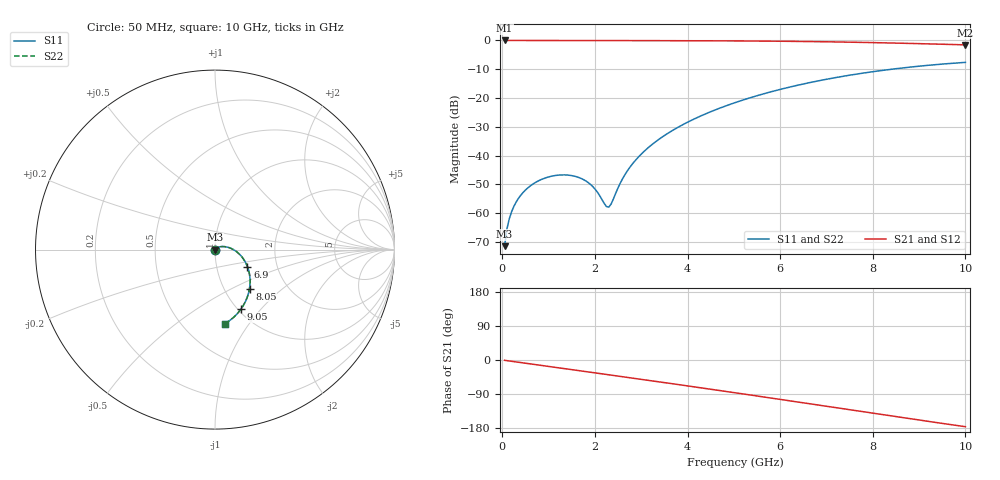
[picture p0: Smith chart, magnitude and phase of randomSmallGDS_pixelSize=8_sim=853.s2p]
! freq	dB(S11)	phase(S11)	dB(S12)	phase(S12)
!  dB(S21)	phase(S21)	dB(S22)	phase(S22)
!S-par simulation data
#  GHz  S  DB  R 50
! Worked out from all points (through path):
!   200 points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, 50 MHz to 10 GHz, reference 50 ohm
!   highest |S21| = 0.00 dB at 50 MHz (marker M1); lowest = -1.5 dB at 10 GHz (marker M2)
!   group delay of S21, straight-line fit = 49.1 ps
!   lowest |S11| = -71.5 dB at 50 MHz (marker M3), VSWR 1.00, Z = 50 - j0.0265 ohm
!   |S11| at or under -10 dB: start of sweep to 8.408 GHz
!   |S22| runs from -71.5 to -7.6 dB; largest |S21 - S12| = 0
!   S11 on the Smith chart (normalised r, x): 50 MHz: 1.00, -0.00; 6.9 GHz: 1.41, -0.28; 8.05 GHz: 1.31, -0.62; 9.05 GHz: 1.04, -0.79; 10 GHz: 0.78, -0.78
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0.05  -71.51 -84.9  -0.00 -0.9  -0.00 -0.9  -71.51 -84.9
0.1  -65.54 -89.0  -0.00 -1.7  -0.00 -1.7  -65.54 -89.0
0.2  -59.58 -92.6  -0.00 -3.4  -0.00 -3.4  -59.58 -92.6
0.35  -54.87 -96.3  -0.01 -6.0  -0.01 -6.0  -54.87 -96.3
0.55  -51.27 -100.8  -0.01 -9.4  -0.01 -9.4  -51.27 -100.8
0.85  -48.28 -107.4  -0.02 -14.4  -0.02 -14.4  -48.28 -107.4
1.15  -46.93 -114.3  -0.02 -19.5  -0.02 -19.5  -46.93 -114.2
1.75  -48.34 -131.9  -0.03 -29.7  -0.03 -29.7  -48.34 -131.8
1.95  -50.73 -142.6  -0.04 -33.1  -0.04 -33.1  -50.73 -142.5
2.25  -57.74 160.4  -0.04 -38.2  -0.04 -38.2  -57.78 160.5
2.3  -57.91 137.7  -0.04 -39.0  -0.04 -39.0  -57.97 137.7
2.75  -44.19 58.7  -0.05 -46.7  -0.05 -46.7  -44.20 58.6
3.05  -38.73 47.6  -0.06 -51.9  -0.06 -51.9  -38.73 47.5
3.4  -34.15 38.6  -0.07 -57.9  -0.07 -57.9  -34.15 38.6
4.1  -27.63 24.1  -0.09 -70.1  -0.09 -70.1  -27.63 24.0
5.05  -21.48 6.2  -0.16 -86.8  -0.16 -86.8  -21.48 6.1
6.7  -14.44 -24.1  -0.39 -116.6  -0.39 -116.6  -14.44 -24.1
6.9  -13.80 -27.7  -0.44 -120.3  -0.44 -120.3  -13.80 -27.7
8.05  -10.75 -48.5  -0.76 -141.3  -0.76 -141.3  -10.75 -48.5
8.35  -10.11 -53.8  -0.86 -146.7  -0.86 -146.7  -10.11 -53.8
9.05  -8.86 -66.1  -1.13 -159.3  -1.13 -159.3  -8.86 -66.1
10  -7.62 -82.3  -1.52 -176.0  -1.52 -176.0  -7.62 -82.3
